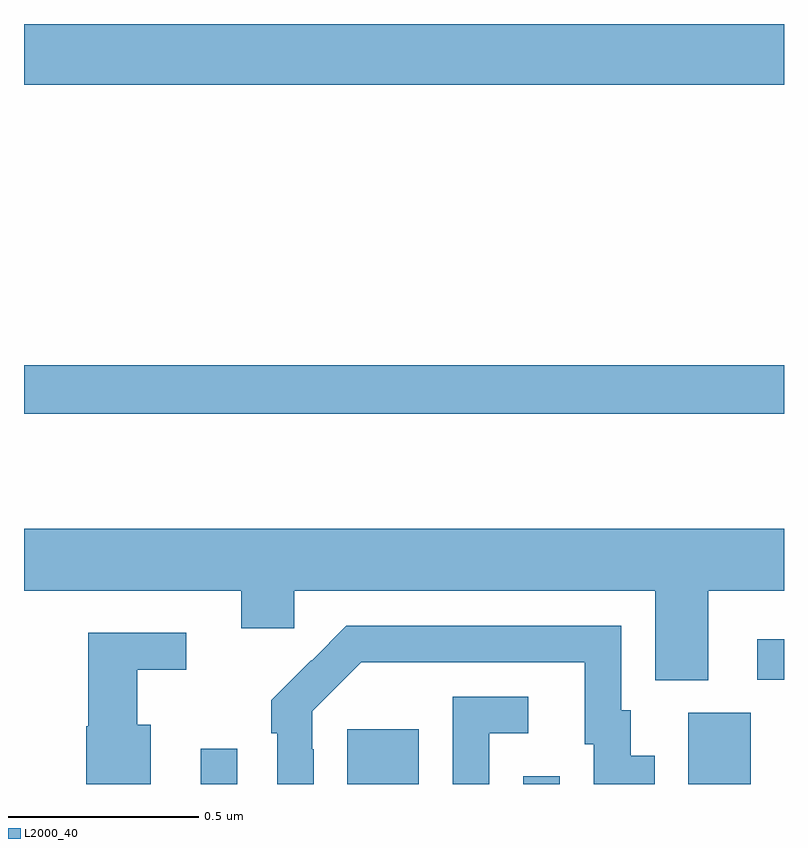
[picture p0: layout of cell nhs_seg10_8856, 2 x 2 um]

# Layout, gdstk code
import gdstk
lib = gdstk.Library(unit=1e-6, precision=1e-09)
def R(c, l, rs):  # rectangles x0, y0, x1, y1
    for r in rs: c.add(gdstk.rectangle(r[:2], r[2:], *l))
def P(c, l, *ps):  # polygons
    for p in ps: c.add(gdstk.Polygon(p, *l))
L2000_40 = (2000, 40)

nhs_seg10_8856 = lib.new_cell('nhs_seg10_8856')
R(nhs_seg10_8856, L2000_40, [(222.465,1274.5,222.561,1274.593), (222.851,1274.5,223.039,1274.644), (223.314,1274.5,223.41,1274.521), (223.748,1274.5,223.912,1274.688), (223.929,1274.775,224,1274.881), (222,1275.474,224,1275.602), (222,1276.34,224,1276.5)])
P(nhs_seg10_8856, L2000_40, [(223.801,1275.008),(224,1275.008),(224,1275.172),(222,1275.172),(222,1275.008),(222.572,1275.008),(222.572,1274.91),(222.711,1274.91),(222.711,1275.008),(223.661,1275.008),(223.661,1274.773),(223.801,1274.773)],
  [(222.762,1274.591),(222.759,1274.591),(222.759,1274.691),(222.888,1274.82),(223.475,1274.82),(223.475,1274.604),(223.499,1274.604),(223.499,1274.5),(223.66,1274.5),(223.66,1274.575),(223.597,1274.575),(223.597,1274.694),(223.572,1274.694),(223.572,1274.916),(222.848,1274.916),(222.757,1274.825),(222.756,1274.826),(222.651,1274.721),(222.651,1274.633),(222.666,1274.633),(222.666,1274.5),(222.762,1274.5)],
  [(222.334,1274.656),(222.298,1274.656),(222.298,1274.801),(222.427,1274.801),(222.427,1274.898),(222.169,1274.898),(222.169,1274.652),(222.164,1274.652),(222.164,1274.5),(222.334,1274.5)],
  [(223.224,1274.634),(223.327,1274.634),(223.327,1274.73),(223.128,1274.73),(223.128,1274.5),(223.224,1274.5)])

lib.write_gds('nhs_seg10_8856.gds')
